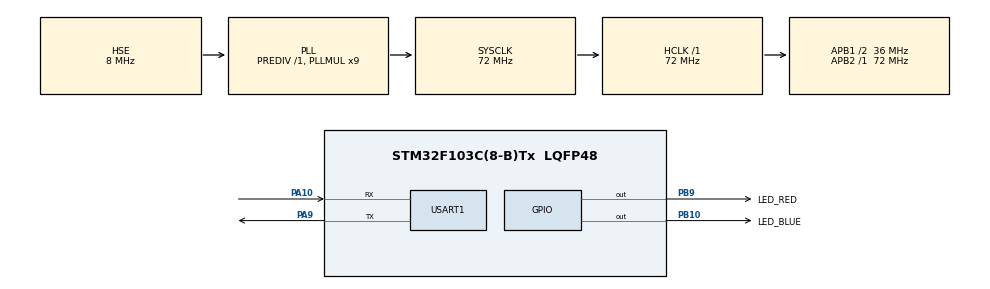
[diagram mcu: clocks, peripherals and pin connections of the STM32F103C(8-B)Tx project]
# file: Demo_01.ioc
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Mcu.Family=STM32F1
Mcu.Name=STM32F103C(8-B)Tx
Mcu.Package=LQFP48
NVIC.PriorityGroup=NVIC_PRIORITYGROUP_4
PA10.Mode=Asynchronous
PA10.Signal=USART1_RX
PA13.Mode=Serial_Wire
PA13.Signal=SYS_JTMS-SWDIO
PA14.Mode=Serial_Wire
PA14.Signal=SYS_JTCK-SWCLK
PA9.Mode=Asynchronous
PA9.Signal=USART1_TX
PB10.GPIO_Label=LED_BLUE
PB10.GPIO_PuPd=GPIO_NOPULL
PB10.GPIO_Speed=GPIO_SPEED_FREQ_HIGH
PB10.PinState=GPIO_PIN_SET
PB10.Signal=GPIO_Output
PB9.GPIO_Label=LED_RED
PB9.GPIO_PuPd=GPIO_NOPULL
PB9.GPIO_Speed=GPIO_SPEED_FREQ_HIGH
PB9.PinState=GPIO_PIN_SET
PB9.Signal=GPIO_Output
PD0-OSC_IN.Mode=HSE-External-Oscillator
PD0-OSC_IN.Signal=RCC_OSC_IN
PD1-OSC_OUT.Mode=HSE-External-Oscillator
PD1-OSC_OUT.Signal=RCC_OSC_OUT
ProjectManager.HeapSize=0x200
ProjectManager.StackSize=0x400
ProjectManager.TargetToolchain=MDK-ARM V5.32
RCC.AHBFreq_Value=72000000
RCC.APB1CLKDivider=RCC_HCLK_DIV2
RCC.APB1Freq_Value=36000000
RCC.APB1TimFreq_Value=72000000
RCC.APB2Freq_Value=72000000
RCC.APB2TimFreq_Value=72000000
RCC.HCLKFreq_Value=72000000
RCC.PLLMUL=RCC_PLL_MUL9
RCC.PLLSourceVirtual=RCC_PLLSOURCE_HSE
RCC.SYSCLKFreq_VALUE=72000000
RCC.SYSCLKSource=RCC_SYSCLKSOURCE_PLLCLK
RCC.USBFreq_Value=72000000
USART1.VirtualMode=VM_ASYNC
board=custom

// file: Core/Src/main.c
/* USER CODE BEGIN Header */
/**
  ******************************************************************************
  * @file           : main.c
  * @brief          : Main program body
  ******************************************************************************
  * @attention
  *
  * Copyright (c) 2022 STMicroelectronics.
  * All rights reserved.
  *
  * This software is licensed under terms that can be found in the LICENSE file
  * in the root directory of this software component.
  * If no LICENSE file comes with this software, it is provided AS-IS.
  *
  ******************************************************************************
  */
/* USER CODE END Header */
#include "main.h"
#include "usart.h"
#include "gpio.h"

/* USER CODE BEGIN Includes */
#include <includes.h>
#include "stm32f1xx_hal.h"
/* USER CODE END Includes */

/* USER CODE BEGIN PTD */
/*csdn 参考网站:
*(1)本次项目代码移植参考：
		https://blog.csdn.net/qq_45945548/article/details/121667025?ops_request_misc=&request_id=&biz_id=102&utm_term=ucosiii%E5%AE%98%E6%96%B9stm32f103%E7%A7%BB%E6%A4%8D&utm_medium=distribute.pc_search_result.none-task-blog-2~all~sobaiduweb~default-1-121667025.142^v67^control,201^v3^control_2,213^v2^t3_esquery_v1&spm=1018.2226.3001.4187
*(2)软件仿真参考：
		https://blog.csdn.net/qq_41675500/article/details/121727792?app_version=5.11.1&code=app_1562916241&csdn_share_tail=%7B%22type%22%3A%22blog%22%2C%22rType%22%3A%22article%22%2C%22rId%22%3A%22121727792%22%2C%22source%22%3A%22qq_44596875%22%7D&uLinkId=usr1mkqgl919blen&utm_source=app
*/
/* USER CODE END PTD */

/* USER CODE BEGIN PD */
/* 任务优先级*/
#define START_TASK_PRIO		3
#define LED0_TASK_PRIO		4
#define MSG_TASK_PRIO		  5

/* 任务栈大小	*/
#define START_STK_SIZE 		64
#define LED0_STK_SIZE 		64
#define MSG_STK_SIZE 		  64 //任务栈大小过大会报错，可以试着改小一点

/* 任务栈 */
CPU_STK START_TASK_STK[START_STK_SIZE];
CPU_STK LED0_TASK_STK[LED0_STK_SIZE];
CPU_STK MSG_TASK_STK[MSG_STK_SIZE];
/* 任务控制块 */
OS_TCB StartTaskTCB;
OS_TCB Led0TaskTCB;
OS_TCB MsgTaskTCB;
/* USER CODE END PD */

/* USER CODE BEGIN PV */
/* 任务函数定义*/
void start_task(void *p_arg);
static  void  AppTaskCreate(void);
static  void  AppObjCreate(void);
static  void  led_pc13(void *p_arg);
static  void  send_msg(void *p_arg);
/* USER CODE END PV */

void SystemClock_Config(void);

int main(void)
{
	OS_ERR  err;
	OSInit(&err);

  /* MCU Configuration--------------------------------------------------------*/

  /* Reset of all peripherals, Initializes the Flash interface and the Systick. */
  HAL_Init();

  /* Configure the system clock */
  SystemClock_Config();

  /* Initialize all configured peripherals */
  //MX_GPIO_Init();  //这个在BSP的初始化里也会初始化
  MX_USART1_UART_Init();
  /* USER CODE BEGIN 2 */
/* 创建任务 */
	OSTaskCreate((OS_TCB     *)&StartTaskTCB,                /* Create the start task                                */
				 (CPU_CHAR   *)"start task",
				 (OS_TASK_PTR ) start_task,
				 (void       *) 0,
				 (OS_PRIO     ) START_TASK_PRIO,
				 (CPU_STK    *)&START_TASK_STK[0],
				 (CPU_STK_SIZE) START_STK_SIZE/10,
				 (CPU_STK_SIZE) START_STK_SIZE,
				 (OS_MSG_QTY  ) 0,
				 (OS_TICK     ) 0,
				 (void       *) 0,
				 (OS_OPT      )(OS_OPT_TASK_STK_CHK | OS_OPT_TASK_STK_CLR),
				 (OS_ERR     *)&err);
	/* 启动多任务系统，控制权交给uC/OS-III */
	OSStart(&err);            /* Start multitasking (i.e. give control to uC/OS-III). */

  /* USER CODE END 2 */

  /* Infinite loop */
  /* USER CODE BEGIN WHILE */
/*
			 while (1)
  {

		HAL_GPIO_WritePin(GPIOB,GPIO_PIN_9,GPIO_PIN_SET); 		//GPIO_RED 置1 灭
		HAL_GPIO_WritePin(GPIOB,GPIO_PIN_10,GPIO_PIN_RESET);  //GPIO_BLUE 置0 亮
		HAL_Delay(500);
		HAL_GPIO_WritePin(GPIOB,GPIO_PIN_9,GPIO_PIN_RESET); 		//GPIO_RED 置1
		HAL_GPIO_WritePin(GPIOB,GPIO_PIN_10,GPIO_PIN_SET); 			//GPIO_BLUE 置0
		HAL_Delay(500);
     USER CODE END WHILE

     USER CODE BEGIN 3
  }
  USER CODE END 3 */
}

void start_task(void *p_arg){
OS_ERR err;
	CPU_SR_ALLOC();
	p_arg = p_arg;

  BSP_Init();                                                   /* Initialize BSP functions */
  //CPU_Init();
  //Mem_Init();                                                 /* Initialize Memory Management Module */

#if OS_CFG_STAT_TASK_EN > 0u
   OSStatTaskCPUUsageInit(&err);  		//统计任务
#endif

#ifdef CPU_CFG_INT_DIS_MEAS_EN			//如果使能了测量中断 关闭时间
    CPU_IntDisMeasMaxCurReset();
#endif

#if	OS_CFG_SCHED_ROUND_ROBIN_EN  		//当使用时间片轮转的时候
	 //使能时间片轮转调度功能，时间片长度为1个系统时间节拍————(1*5=5ms)
	OSSchedRoundRobinCfg(DEF_ENABLED,1,&err);
#endif

	OS_CRITICAL_ENTER();	//进入临界区
	/* 创建LED0任务 */
	OSTaskCreate((OS_TCB 	* )&Led0TaskTCB,
				 (CPU_CHAR	* )"led_pc13",
                 (OS_TASK_PTR )led_pc13,
                 (void		* )0,
                 (OS_PRIO	  )LED0_TASK_PRIO,
                 (CPU_STK   * )&LED0_TASK_STK[0],
                 (CPU_STK_SIZE)LED0_STK_SIZE/10,
                 (CPU_STK_SIZE)LED0_STK_SIZE,
                 (OS_MSG_QTY  )0,
                 (OS_TICK	  )0,
                 (void   	* )0,
                 (OS_OPT      )OS_OPT_TASK_STK_CHK|OS_OPT_TASK_STK_CLR,
                 (OS_ERR 	* )&err);

	/* 创建LED1任务  */
	OSTaskCreate((OS_TCB 	* )&MsgTaskTCB,
				 (CPU_CHAR	* )"send_msg",
                 (OS_TASK_PTR )send_msg,
                 (void		* )0,
                 (OS_PRIO	  )MSG_TASK_PRIO,
                 (CPU_STK   * )&MSG_TASK_STK[0],
                 (CPU_STK_SIZE)MSG_STK_SIZE/10,
                 (CPU_STK_SIZE)MSG_STK_SIZE,
                 (OS_MSG_QTY  )0,
                 (OS_TICK	  )0,
                 (void   	* )0,
                 (OS_OPT      )OS_OPT_TASK_STK_CHK|OS_OPT_TASK_STK_CLR,
                 (OS_ERR 	* )&err);

	OS_TaskSuspend((OS_TCB*)&StartTaskTCB,&err);		//挂起开始任务
	OS_CRITICAL_EXIT();	//进入临界区

}

/**
  * 函数功能：启动任务函数载体
  * 输入参数：p_arg 是在创建该任务是传递的形参
  * 返回值：无
  * 说  明：无
  */
static  void  led_pc13 (void *p_arg)
{
  OS_ERR      err;

  (void)p_arg;

  BSP_Init();                                                 /* Initialize BSP functions                             */
  CPU_Init();

  Mem_Init();                                                 /* Initialize Memory Management Module                  */

#if OS_CFG_STAT_TASK_EN > 0u
  OSStatTaskCPUUsageInit(&err);                               /* Compute CPU capacity with no task running            */
#endif

  CPU_IntDisMeasMaxCurReset();

  AppTaskCreate();                                            /* Create Application Tasks                             */

  AppObjCreate();                                             /* Create Application Objects                           */

	/**
	*PIN_9 LED_RED
	*PIN_10 LED_BLUE
	*/
  while (DEF_TRUE)
  {
		HAL_GPIO_WritePin(GPIOB,LED_RED_Pin,GPIO_PIN_RESET);
		HAL_GPIO_WritePin(GPIOB,LED_BLUE_Pin,GPIO_PIN_SET);
		printf("LED_BLUE is lightup \r\n");
		OSTimeDlyHMSM(0, 0, 1, 0,OS_OPT_TIME_HMSM_STRICT,&err);
		HAL_GPIO_WritePin(GPIOB,LED_RED_Pin,GPIO_PIN_SET);
		HAL_GPIO_WritePin(GPIOB,LED_BLUE_Pin,GPIO_PIN_RESET);
		printf("LED_RED is lightup \r\n");
		OSTimeDlyHMSM(0, 0, 1, 0,OS_OPT_TIME_HMSM_STRICT,&err);

    /* USER CODE END WHILE */

  }
}

static  void  send_msg (void *p_arg)
{
  OS_ERR      err;

  (void)p_arg;

  BSP_Init();                                                 /* Initialize BSP functions                             */
  CPU_Init();

  Mem_Init();                                                 /* Initialize Memory Management Module                  */

#if OS_CFG_STAT_TASK_EN > 0u
  OSStatTaskCPUUsageInit(&err);                               /* Compute CPU capacity with no task running            */
#endif

  CPU_IntDisMeasMaxCurReset();

  AppTaskCreate();                                            /* Create Application Tasks                             */

  AppObjCreate();                                             /* Create Application Objects                           */

  while (DEF_TRUE)
  {
			//printf("hello world \r\n");
		printf("hello uc/OS 欢迎来到RTOS多任务环境！ \r\n");
		OSTimeDlyHMSM(0, 0, 1, 0,OS_OPT_TIME_HMSM_STRICT,&err);
    /* USER CODE END WHILE */

  }
}

/* USER CODE BEGIN 4 */
/**
  * 函数功能：创建应用任务
  */
static  void  AppTaskCreate (void)
{

}

/**
	* 函数功能: uCosIII内核对象创建
  */
static  void  AppObjCreate (void)
{

}

/**
  * @brief System Clock Configuration
  * @retval None
  */
void SystemClock_Config(void)
{
  RCC_OscInitTypeDef RCC_OscInitStruct = {0};
  RCC_ClkInitTypeDef RCC_ClkInitStruct = {0};

  /** Initializes the RCC Oscillators according to the specified parameters
  * in the RCC_OscInitTypeDef structure.
  */
  RCC_OscInitStruct.OscillatorType = RCC_OSCILLATORTYPE_HSE;
  RCC_OscInitStruct.HSEState = RCC_HSE_ON;
  RCC_OscInitStruct.HSEPredivValue = RCC_HSE_PREDIV_DIV1;
  RCC_OscInitStruct.HSIState = RCC_HSI_ON;
  RCC_OscInitStruct.PLL.PLLState = RCC_PLL_ON;
  RCC_OscInitStruct.PLL.PLLSource = RCC_PLLSOURCE_HSE;
  RCC_OscInitStruct.PLL.PLLMUL = RCC_PLL_MUL9;
  if (HAL_RCC_OscConfig(&RCC_OscInitStruct) != HAL_OK)
  {
    Error_Handler();
  }

  /** Initializes the CPU, AHB and APB buses clocks
  */
  RCC_ClkInitStruct.ClockType = RCC_CLOCKTYPE_HCLK|RCC_CLOCKTYPE_SYSCLK
                              |RCC_CLOCKTYPE_PCLK1|RCC_CLOCKTYPE_PCLK2;
  RCC_ClkInitStruct.SYSCLKSource = RCC_SYSCLKSOURCE_PLLCLK;
  RCC_ClkInitStruct.AHBCLKDivider = RCC_SYSCLK_DIV1;
  RCC_ClkInitStruct.APB1CLKDivider = RCC_HCLK_DIV2;
  RCC_ClkInitStruct.APB2CLKDivider = RCC_HCLK_DIV1;

  if (HAL_RCC_ClockConfig(&RCC_ClkInitStruct, FLASH_LATENCY_2) != HAL_OK)
  {
    Error_Handler();
  }
}

/* USER CODE BEGIN 4 */

/* USER CODE END 4 */

void Error_Handler(void)
{
  __disable_irq();
  while (1)
  {
  }
}
